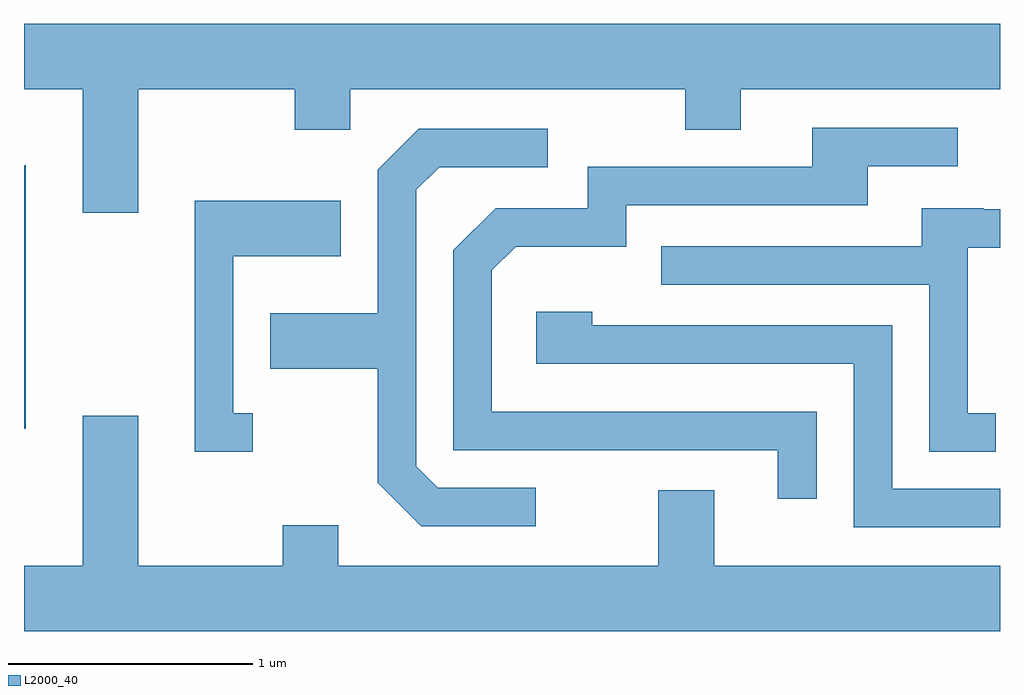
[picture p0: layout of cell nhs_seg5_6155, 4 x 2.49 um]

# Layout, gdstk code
import gdstk
lib = gdstk.Library(unit=1e-6, precision=1e-09)
def R(c, l, rs):  # rectangles x0, y0, x1, y1
    for r in rs: c.add(gdstk.rectangle(r[:2], r[2:], *l))
def P(c, l, *ps):  # polygons
    for p in ps: c.add(gdstk.Polygon(p, *l))
L2000_40 = (2000, 40)

nhs_seg5_6155 = lib.new_cell('nhs_seg5_6155')
R(nhs_seg5_6155, L2000_40, [(367.611,1457.626,367.619,1458.704)])
P(nhs_seg5_6155, L2000_40, [(368.079,1459.016),(368.721,1459.016),(368.721,1458.851),(368.949,1458.851),(368.949,1459.016),(370.321,1459.016),(370.321,1458.851),(370.549,1458.851),(370.549,1459.016),(371.611,1459.016),(371.611,1459.284),(367.611,1459.284),(367.611,1459.016),(367.851,1459.016),(367.851,1458.511),(368.079,1458.511)],
  [(370.859,1457.694),(369.529,1457.694),(369.529,1458.274),(369.627,1458.371),(370.079,1458.371),(370.079,1458.541),(371.069,1458.541),(371.069,1458.701),(371.438,1458.701),(371.438,1458.859),(370.841,1458.859),(370.841,1458.699),(369.921,1458.699),(369.921,1458.529),(369.544,1458.529),(369.371,1458.357),(369.371,1457.536),(370.701,1457.536),(370.701,1457.338),(370.859,1457.338)],
  [(369.708,1457.384),(369.307,1457.384),(369.219,1457.472),(369.219,1458.604),(369.312,1458.696),(369.758,1458.696),(369.758,1458.854),(369.229,1458.854),(369.061,1458.687),(369.061,1458.099),(368.621,1458.099),(368.621,1457.871),(369.061,1457.871),(369.061,1457.404),(369.239,1457.226),(369.708,1457.226)],
  [(368.548,1457.689),(368.469,1457.689),(368.469,1458.331),(368.909,1458.331),(368.909,1458.559),(368.311,1458.559),(368.311,1457.531),(368.548,1457.531)],
  [(371.593,1457.689),(371.479,1457.689),(371.479,1458.366),(371.611,1458.366),(371.611,1458.524),(371.545,1458.524),(371.545,1458.529),(371.291,1458.529),(371.291,1458.374),(370.223,1458.374),(370.223,1458.216),(371.321,1458.216),(371.321,1457.531),(371.593,1457.531)],
  [(371.611,1457.379),(371.169,1457.379),(371.169,1458.049),(369.939,1458.049),(369.939,1458.104),(369.711,1458.104),(369.711,1457.891),(371.011,1457.891),(371.011,1457.221),(371.611,1457.221)],
  [(371.611,1457.064),(370.439,1457.064),(370.439,1457.374),(370.211,1457.374),(370.211,1457.064),(368.899,1457.064),(368.899,1457.229),(368.671,1457.229),(368.671,1457.064),(368.079,1457.064),(368.079,1457.679),(367.851,1457.679),(367.851,1457.064),(367.611,1457.064),(367.611,1456.796),(371.611,1456.796)])

lib.write_gds('nhs_seg5_6155.gds')
